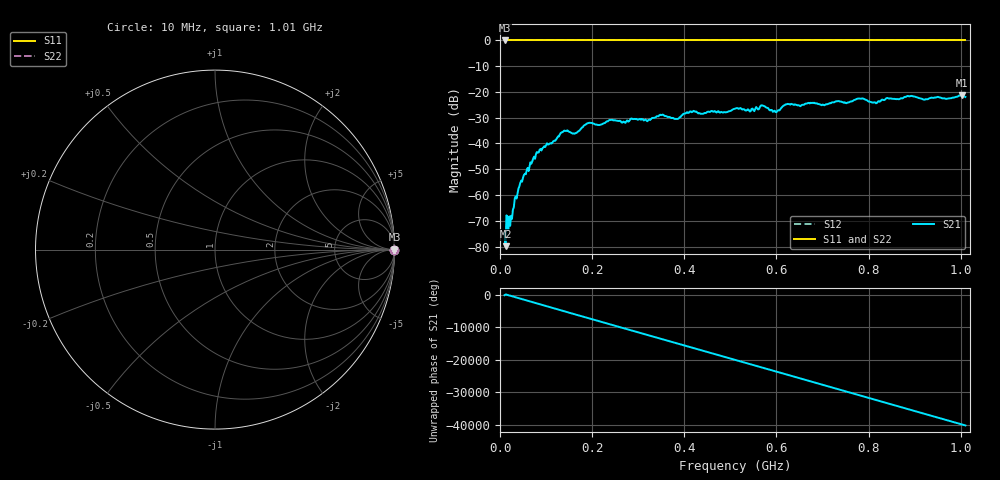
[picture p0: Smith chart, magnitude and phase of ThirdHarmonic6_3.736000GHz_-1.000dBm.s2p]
! 8/17/2025 12:46:50 PM
! C:\ANRITSUVNA\TEMP\TEMP.S2P
! CHANNEL.1
! TR.MEASUREMENT
! RAW.DATA
! RF.CORRECTION.OFF
! AVERAGING.OFF
! IF.BANDWIDTH: 5KHZ
! SWEEPTYPE:  FREQ.SWEEP(Linear)
! Reference Plane Port Info
! PORT:  PORT1  PORT2
! DISTANCE:  0  m  0  m
! TIME:  0  s  0  s
! PHASE.OFFSET:  0  deg.  0  deg.
! LOSS:  0  dB  0  dB
! REF.LOSS:  0  dB  0  dB
! REF.FREQ:  0  Hz  0  Hz
! Power Info
! POWER:  -20  dBm  -20  dBm
! EFF.POWER:  -20  dBm  -20  dBm
! SOURCE.ATTEN:  0  dB  0  dB
! TEST.ATTEN:  0  dB  0  dB
# GHZ S RI R 50.0
! FREQ.GHZ  S11RE  S11IM  S21RE  S21IM  S12RE  S12IM  S22RE  S22IM
!; PortSelection: Port_12
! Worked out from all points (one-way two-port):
!   501 points, 10 MHz to 1.01 GHz, reference 50 ohm
!   highest |S21| = -21.25 dB at 1.002 GHz (marker M1); lowest = -79.9 dB at 12 MHz (marker M2)
!   lowest |S11| = 0.0 dB at 10 MHz (marker M3)
!   |S11| at or under -10 dB: nowhere
!   |S22| runs from 0.0 to 0.0 dB; largest |S21 - S12| = 1.1
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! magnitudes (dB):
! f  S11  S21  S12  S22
! 10 MHz  0.0  -74.8  0.0  0.0
! 12 MHz  0.0  -79.9  0.0  0.0
! 22 MHz  0.0  -71.9  0.0  0.0
! 36 MHz  0.0  -61.4  0.0  0.0
! 48 MHz  0.0  -54.8  0.0  0.0
! 82 MHz  0.0  -43.5  0.0  0.0
! 136 MHz  0.0  -35.6  0.0  0.0
! 162 MHz  0.0  -36.2  0.0  0.0
! 178 MHz  0.0  -33.8  0.0  0.0
! 194 MHz  0.0  -31.9  0.0  0.0
! 344 MHz  0.0  -29.4  0.0  0.0
! 384 MHz  0.0  -30.5  0.0  0.0
! 416 MHz  0.0  -27.8  0.0  0.0
! 510 MHz  0.0  -26.5  0.0  0.0
! 570 MHz  0.0  -25.3  0.0  0.0
! 596 MHz  0.0  -27.2  0.0  0.0
! 622 MHz  0.0  -24.8  0.0  0.0
! 678 MHz  0.0  -24.2  0.0  0.0
! 814 MHz  0.0  -24.1  0.0  0.0
! 844 MHz  0.0  -22.6  0.0  0.0
! 1.002 GHz  0.0  -21.3  0.0  0.0
! 1.01 GHz  0.0  -22.0  0.0  0.0
